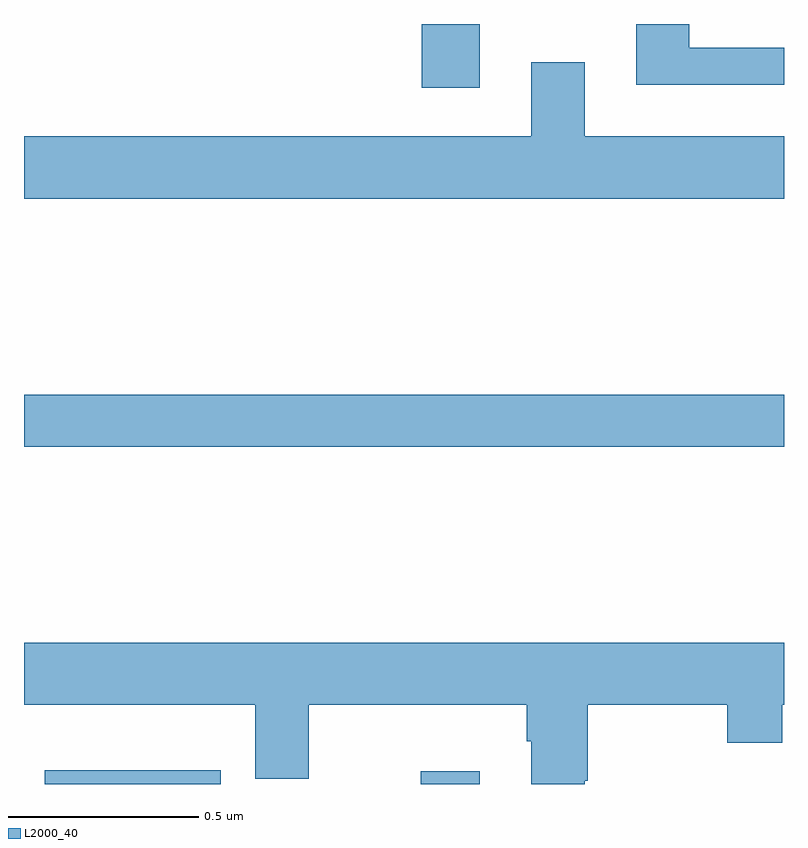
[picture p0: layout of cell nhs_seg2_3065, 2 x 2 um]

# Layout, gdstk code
import gdstk
lib = gdstk.Library(unit=1e-6, precision=1e-09)
def R(c, l, rs):  # rectangles x0, y0, x1, y1
    for r in rs: c.add(gdstk.rectangle(r[:2], r[2:], *l))
def P(c, l, *ps):  # polygons
    for p in ps: c.add(gdstk.Polygon(p, *l))
L2000_40 = (2000, 40)

nhs_seg2_3065 = lib.new_cell('nhs_seg2_3065')
R(nhs_seg2_3065, L2000_40, [(149.054,608.8,149.518,608.836), (150.044,608.8,150.199,608.833), (149,609.688,151,609.824), (150.047,610.632,150.199,610.8)])
P(nhs_seg2_3065, L2000_40, [(151,610.737),(150.751,610.737),(150.751,610.8),(150.611,610.8),(150.611,610.64),(151,610.64)],
  [(151,610.504),(150.475,610.504),(150.475,610.699),(150.335,610.699),(150.335,610.504),(149,610.504),(149,610.34),(151,610.34)],
  [(150.475,608.809),(150.483,608.809),(150.483,609.008),(150.85,609.008),(150.85,608.909),(150.996,608.909),(150.996,609.008),(151,609.008),(151,609.172),(149,609.172),(149,609.008),(149.609,609.008),(149.609,608.814),(149.749,608.814),(149.749,609.008),(150.323,609.008),(150.323,608.912),(150.335,608.912),(150.335,608.8),(150.475,608.8)])

lib.write_gds('nhs_seg2_3065.gds')
